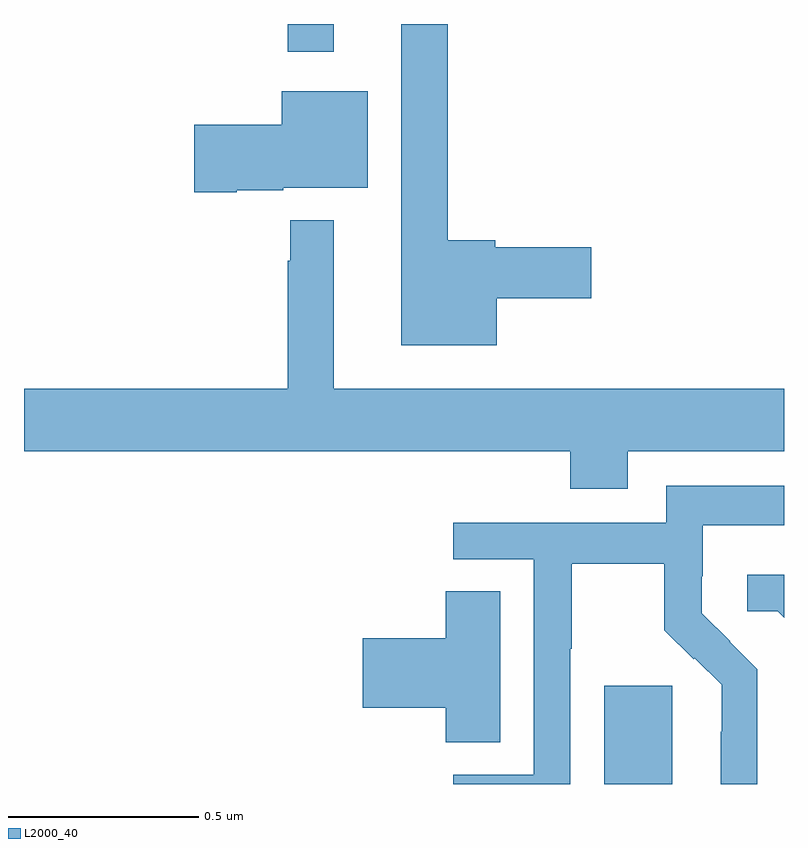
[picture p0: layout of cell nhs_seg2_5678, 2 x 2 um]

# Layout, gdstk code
import gdstk
lib = gdstk.Library(unit=1e-6, precision=1e-09)
def R(c, l, rs):  # rectangles x0, y0, x1, y1
    for r in rs: c.add(gdstk.rectangle(r[:2], r[2:], *l))
def P(c, l, *ps):  # polygons
    for p in ps: c.add(gdstk.Polygon(p, *l))
L2000_40 = (2000, 40)

nhs_seg2_5678 = lib.new_cell('nhs_seg2_5678')
R(nhs_seg2_5678, L2000_40, [(183.527,606.8,183.706,607.059), (182.694,608.727,182.815,608.8)])
P(nhs_seg2_5678, L2000_40, [(183.244,608.078),(183.493,608.078),(183.493,608.213),(183.24,608.213),(183.24,608.231),(183.115,608.231),(183.115,608.8),(182.993,608.8),(182.993,607.955),(183.244,607.955)],
  [(182.56,608.363),(182.682,608.363),(182.682,608.369),(182.905,608.369),(182.905,608.623),(182.678,608.623),(182.678,608.535),(182.448,608.535),(182.448,608.357),(182.56,608.357)],
  [(182.701,608.284),(182.701,608.177),(182.694,608.177),(182.694,607.84),(182,607.84),(182,607.676),(183.437,607.676),(183.437,607.577),(183.589,607.577),(183.589,607.676),(184,607.676),(184,607.84),(182.815,607.84),(182.815,608.284)],
  [(183.438,607.156),(183.441,607.156),(183.441,607.38),(183.685,607.38),(183.685,607.205),(183.762,607.128),(183.765,607.131),(183.836,607.061),(183.836,606.938),(183.834,606.938),(183.834,606.8),(183.93,606.8),(183.93,607.102),(183.857,607.175),(183.858,607.176),(183.784,607.25),(183.784,607.347),(183.786,607.347),(183.786,607.481),(184,607.481),(184,607.585),(183.69,607.585),(183.69,607.488),(183.129,607.488),(183.129,607.392),(183.342,607.392),(183.342,606.825),(183.129,606.825),(183.129,606.8),(183.438,606.8)],
  [(184,607.351),(183.903,607.351),(183.903,607.254),(183.984,607.254),(184,607.238)],
  [(183.253,607.307),(183.11,607.307),(183.11,607.184),(182.892,607.184),(182.892,607.001),(183.11,607.001),(183.11,606.91),(183.253,606.91)])

lib.write_gds('nhs_seg2_5678.gds')
